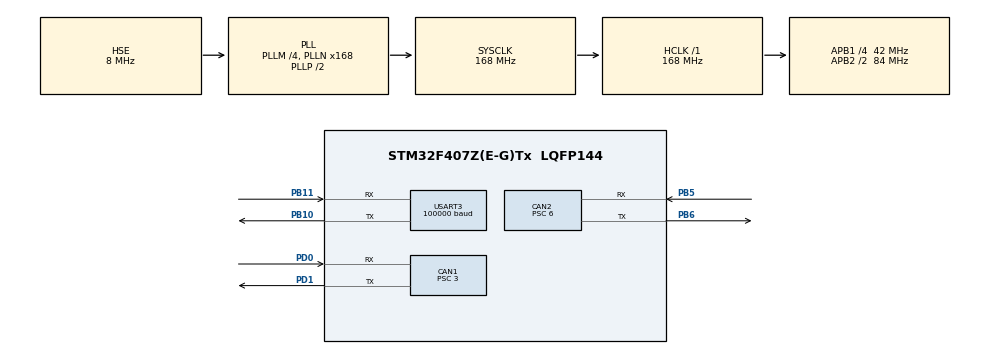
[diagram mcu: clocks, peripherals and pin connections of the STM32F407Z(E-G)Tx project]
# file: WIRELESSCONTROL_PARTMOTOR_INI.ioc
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CAN1.ABOM=ENABLE
CAN1.AWUM=ENABLE
CAN1.BS1=CAN_BS1_9TQ
CAN1.BS2=CAN_BS2_4TQ
CAN1.CalculateBaudRate=1000000
CAN1.CalculateTimeBit=1000
CAN1.CalculateTimeQuantum=71.42857142857143
CAN1.NART=ENABLE
CAN1.Prescaler=3
CAN1.TXFP=ENABLE
CAN2.ABOM=ENABLE
CAN2.AWUM=ENABLE
CAN2.BS1=CAN_BS1_4TQ
CAN2.BS2=CAN_BS2_2TQ
CAN2.CalculateBaudRate=1000000
CAN2.CalculateTimeBit=1000
CAN2.CalculateTimeQuantum=142.85714285714286
CAN2.NART=ENABLE
CAN2.Prescaler=6
CAN2.TXFP=ENABLE
FREERTOS.Tasks01=defaultTask,24,128,StartDefaultTask,Default,NULL,Dynamic,NULL,NULL;myTask02,8,128,StartTask02,Default,NULL,Dynamic,NULL,NULL;MatlabFuction,40,256,StartTask03,Default,NULL,Static,MatlabFuctionBuffer,MatlabFuctionControlBlock;myTask04,48,128,StartTask04,Default,NULL,Dynamic,NULL,NULL
Mcu.Family=STM32F4
Mcu.Name=STM32F407Z(E-G)Tx
Mcu.Package=LQFP144
NVIC.CAN1_RX0_IRQn=true\:5\:0\:false\:false\:true\:true\:true\:true\:true
NVIC.CAN1_TX_IRQn=true\:5\:0\:false\:false\:true\:true\:true\:true\:true
NVIC.CAN2_RX0_IRQn=true\:5\:0\:false\:false\:true\:true\:true\:true\:true
NVIC.CAN2_TX_IRQn=true\:5\:0\:false\:false\:true\:true\:true\:true\:true
NVIC.PriorityGroup=NVIC_PRIORITYGROUP_4
NVIC.TIM7_IRQn=true\:15\:0\:false\:false\:true\:false\:false\:true\:true
NVIC.TimeBase=TIM7_IRQn
NVIC.TimeBaseIP=TIM7
NVIC.USART3_IRQn=true\:5\:0\:false\:false\:true\:true\:true\:true\:true
PA13.Mode=Serial_Wire
PA13.Signal=SYS_JTMS-SWDIO
PA14.Mode=Serial_Wire
PA14.Signal=SYS_JTCK-SWCLK
PB10.Mode=Asynchronous
PB10.Signal=USART3_TX
PB11.Mode=Asynchronous
PB11.Signal=USART3_RX
PB5.Mode=CAN_Activate
PB5.Signal=CAN2_RX
PB6.Mode=CAN_Activate
PB6.Signal=CAN2_TX
PD0.GPIO_Speed=GPIO_SPEED_FREQ_HIGH
PD0.Mode=CAN_Activate
PD0.Signal=CAN1_RX
PD1.GPIO_Speed=GPIO_SPEED_FREQ_HIGH
PD1.Mode=CAN_Activate
PD1.Signal=CAN1_TX
PH0-OSC_IN.Mode=HSE-External-Oscillator
PH0-OSC_IN.Signal=RCC_OSC_IN
PH1-OSC_OUT.Mode=HSE-External-Oscillator
PH1-OSC_OUT.Signal=RCC_OSC_OUT
ProjectManager.HeapSize=0x200
ProjectManager.StackSize=0x400
ProjectManager.TargetToolchain=MDK-ARM V5.32
RCC.48MHZClocksFreq_Value=84000000
RCC.AHBFreq_Value=168000000
RCC.APB1CLKDivider=RCC_HCLK_DIV4
RCC.APB1Freq_Value=42000000
RCC.APB1TimFreq_Value=84000000
RCC.APB2CLKDivider=RCC_HCLK_DIV2
RCC.APB2Freq_Value=84000000
RCC.APB2TimFreq_Value=168000000
RCC.CortexFreq_Value=168000000
RCC.HCLKFreq_Value=168000000
RCC.HSE_VALUE=8000000
RCC.HSI_VALUE=16000000
RCC.LSE_VALUE=32768
RCC.PLLM=4
RCC.PLLN=168
RCC.PLLSourceVirtual=RCC_PLLSOURCE_HSE
RCC.SYSCLKFreq_VALUE=168000000
RCC.SYSCLKSource=RCC_SYSCLKSOURCE_PLLCLK
RCC.VCOOutputFreq_Value=336000000
USART3.BaudRate=100000
USART3.Mode=MODE_RX
USART3.Parity=PARITY_EVEN
USART3.StopBits=STOPBITS_2
USART3.VirtualMode=VM_ASYNC
VP_FREERTOS_VS_CMSIS_V2.Mode=CMSIS_V2
VP_SYS_VS_tim7.Mode=TIM7
board=custom

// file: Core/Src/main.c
/* USER CODE BEGIN Header */
/**
  ******************************************************************************
  * @file           : main.c
  * @brief          : Main program body
  ******************************************************************************
  * @attention
  *
  * Copyright (c) 2024 STMicroelectronics.
  * All rights reserved.
  *
  * This software is licensed under terms that can be found in the LICENSE file
  * in the root directory of this software component.
  * If no LICENSE file comes with this software, it is provided AS-IS.
  *
  ******************************************************************************
  */
/* USER CODE END Header */
#include "main.h"
#include "cmsis_os.h"
#include "can.h"
#include "usart.h"
#include "gpio.h"

/* USER CODE BEGIN Includes */
#include "sbus.h"
#define USART_REC_LEN  			100  	//
#define RXBUFFERSIZE   			1 		//
uint8_t USART3_RX_BUF[USART_REC_LEN];
uint16_t USART3_RX_STA = 0;
uint8_t aRxBuffer3[RXBUFFERSIZE];
extern SBUS_CH_Struct SBUS_CH;

#include "HT03.h"

extern MotorData motor_data[8];
extern uint8_t motor_state;

#include "IMPULSE.h"
extern PULSE PULSE_data[4];

float CH3,CH1,CH2;

#include "CONTROLLER0.h"

int stauts = 0;

int j = 0;

/* USER CODE END Includes */

void SystemClock_Config(void);
void MX_FREERTOS_Init(void);

int main(void)
{

  /* MCU Configuration--------------------------------------------------------*/

  /* Reset of all peripherals, Initializes the Flash interface and the Systick. */
  HAL_Init();

  /* Configure the system clock */
  SystemClock_Config();

  /* Initialize all configured peripherals */
  MX_GPIO_Init();
  MX_CAN1_Init();
  MX_USART3_UART_Init();
  MX_CAN2_Init();
  /* USER CODE BEGIN 2 */

	HAL_UART_Receive_IT(&huart3,aRxBuffer3,1);
  can_filter_init();

	PULSE_INIT(8,4,2,1,2,2,0,0,0,0,2,2);
	//void PULSE_INIT(int X_N,int Y_N,int X_MAX, int Y_MAX,float sx_RF, float sy_RF,float sx_RB,
	//float sy_RB,float sx_LF, float sy_LF,float sx_LB, float sy_LB);
	//HAL_TIM_Base_Start_IT(&htim14);

  CanMOTOR_Init();
	CONTROLLER0_initialize();
	rtU.R_LENGTH = 0;
	rtU.L_LENGTH = 0;

	// 200 - 1800 x     800 - 1100   CH2
	//  56 - 1656 y mid 700- 900 CH1

//	HAL_TIM_Base_Start_IT(&htim6);

  /* USER CODE END 2 */

  /* Init scheduler */
  osKernelInitialize();  /* Call init function for freertos objects (in freertos.c) */
  MX_FREERTOS_Init();

  /* Start scheduler */
  osKernelStart();
  /* We should never get here as control is now taken by the scheduler */
  /* Infinite loop */
  while (1)
  {

  }
}

void SystemClock_Config(void)
{
  RCC_OscInitTypeDef RCC_OscInitStruct = {0};
  RCC_ClkInitTypeDef RCC_ClkInitStruct = {0};

  /** Configure the main internal regulator output voltage
  */
  __HAL_RCC_PWR_CLK_ENABLE();
  __HAL_PWR_VOLTAGESCALING_CONFIG(PWR_REGULATOR_VOLTAGE_SCALE1);

  /** Initializes the RCC Oscillators according to the specified parameters
  * in the RCC_OscInitTypeDef structure.
  */
  RCC_OscInitStruct.OscillatorType = RCC_OSCILLATORTYPE_HSE;
  RCC_OscInitStruct.HSEState = RCC_HSE_ON;
  RCC_OscInitStruct.PLL.PLLState = RCC_PLL_ON;
  RCC_OscInitStruct.PLL.PLLSource = RCC_PLLSOURCE_HSE;
  RCC_OscInitStruct.PLL.PLLM = 4;
  RCC_OscInitStruct.PLL.PLLN = 168;
  RCC_OscInitStruct.PLL.PLLP = RCC_PLLP_DIV2;
  RCC_OscInitStruct.PLL.PLLQ = 4;
  if (HAL_RCC_OscConfig(&RCC_OscInitStruct) != HAL_OK)
  {
    Error_Handler();
  }

  /** Initializes the CPU, AHB and APB buses clocks
  */
  RCC_ClkInitStruct.ClockType = RCC_CLOCKTYPE_HCLK|RCC_CLOCKTYPE_SYSCLK
                              |RCC_CLOCKTYPE_PCLK1|RCC_CLOCKTYPE_PCLK2;
  RCC_ClkInitStruct.SYSCLKSource = RCC_SYSCLKSOURCE_PLLCLK;
  RCC_ClkInitStruct.AHBCLKDivider = RCC_SYSCLK_DIV1;
  RCC_ClkInitStruct.APB1CLKDivider = RCC_HCLK_DIV4;
  RCC_ClkInitStruct.APB2CLKDivider = RCC_HCLK_DIV2;

  if (HAL_RCC_ClockConfig(&RCC_ClkInitStruct, FLASH_LATENCY_5) != HAL_OK)
  {
    Error_Handler();
  }
}

/* USER CODE BEGIN 4 */
void HAL_UART_RxCpltCallback(UART_HandleTypeDef *huart)
{
	int i;

	while (huart->Instance == USART3) //uart3 ?
	{
		USART3_RX_BUF[USART3_RX_STA] = aRxBuffer3[0];
		if (USART3_RX_STA == 0 && USART3_RX_BUF[USART3_RX_STA] != 0x0F) break; //
		USART3_RX_STA++;
		if (USART3_RX_STA > USART_REC_LEN) USART3_RX_STA = 0;  //
		if (USART3_RX_BUF[0] == 0x0F && USART3_RX_BUF[24] == 0x00 && USART3_RX_STA == 25)	//
		{
			update_sbus(USART3_RX_BUF);

			for (i = 0; i<25; i++)		//

				USART3_RX_BUF[i] = 0;
			USART3_RX_STA = 0;
		}

		break;
	}
}
/* USER CODE END 4 */

void HAL_TIM_PeriodElapsedCallback(TIM_HandleTypeDef *htim)
{
  if (htim->Instance == TIM7) {
    HAL_IncTick();
  }
}

void Error_Handler(void)
{
  __disable_irq();
  while (1)
  {
  }
}

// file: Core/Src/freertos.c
/* USER CODE BEGIN Header */
/**
  ******************************************************************************
  * File Name          : freertos.c
  * Description        : Code for freertos applications
  ******************************************************************************
  * @attention
  *
  * Copyright (c) 2024 STMicroelectronics.
  * All rights reserved.
  *
  * This software is licensed under terms that can be found in the LICENSE file
  * in the root directory of this software component.
  * If no LICENSE file comes with this software, it is provided AS-IS.
  *
  ******************************************************************************
  */
/* USER CODE END Header */

#include "FreeRTOS.h"
#include "task.h"
#include "main.h"
#include "cmsis_os.h"

/* USER CODE BEGIN Includes */
#include "CONTROLLER0.h"
#include "can.h"
#include "sbus.h"

extern SBUS_CH_Struct SBUS_CH;

#include "HT03.h"

extern MotorData motor_data[8];
extern uint8_t motor_state;

#include "IMPULSE.h"

extern PULSE PULSE_data[4];

extern int stauts ;

extern float CH3,CH2,CH1;

int update = 10;
/* USER CODE END Includes */

typedef StaticTask_t osStaticThreadDef_t;

/* Definitions for defaultTask */
osThreadId_t defaultTaskHandle;
const osThreadAttr_t defaultTask_attributes = {
  .name = "defaultTask",
  .stack_size = 128 * 4,
  .priority = (osPriority_t) osPriorityNormal,
};
/* Definitions for myTask02 */
osThreadId_t myTask02Handle;
const osThreadAttr_t myTask02_attributes = {
  .name = "myTask02",
  .stack_size = 128 * 4,
  .priority = (osPriority_t) osPriorityLow,
};
/* Definitions for MatlabFuction */
osThreadId_t MatlabFuctionHandle;
uint32_t MatlabFuctionBuffer[ 256 ];
osStaticThreadDef_t MatlabFuctionControlBlock;
const osThreadAttr_t MatlabFuction_attributes = {
  .name = "MatlabFuction",
  .cb_mem = &MatlabFuctionControlBlock,
  .cb_size = sizeof(MatlabFuctionControlBlock),
  .stack_mem = &MatlabFuctionBuffer[0],
  .stack_size = sizeof(MatlabFuctionBuffer),
  .priority = (osPriority_t) osPriorityHigh,
};
/* Definitions for myTask04 */
osThreadId_t myTask04Handle;
const osThreadAttr_t myTask04_attributes = {
  .name = "myTask04",
  .stack_size = 128 * 4,
  .priority = (osPriority_t) osPriorityRealtime,
};

void StartDefaultTask(void *argument);
void StartTask02(void *argument);
void StartTask03(void *argument);
void StartTask04(void *argument);

void MX_FREERTOS_Init(void); /* (MISRA C 2004 rule 8.1) */

void MX_FREERTOS_Init(void) {

  /* Create the thread(s) */
  /* creation of defaultTask */
  defaultTaskHandle = osThreadNew(StartDefaultTask, NULL, &defaultTask_attributes);

  /* creation of myTask02 */
  myTask02Handle = osThreadNew(StartTask02, NULL, &myTask02_attributes);

  /* creation of MatlabFuction */
  MatlabFuctionHandle = osThreadNew(StartTask03, NULL, &MatlabFuction_attributes);

  /* creation of myTask04 */
  myTask04Handle = osThreadNew(StartTask04, NULL, &myTask04_attributes);

}

void StartDefaultTask(void *argument)
{
  /* USER CODE BEGIN StartDefaultTask */
  /* Infinite loop */
  for(;;)
  {
    osDelay(10);
  }
  /* USER CODE END StartDefaultTask */
}

void StartTask02(void *argument)
{
  /* USER CODE BEGIN StartTask02 */
  /* Infinite loop */
  for(;;)
  {

	 if(stauts ==1){
		// CanComm_ControlCmd(CMD_MOTOR_MODE,0x07,hcan1);
			CanComm_SendControlPara(rtY.RF_theta_in,0,7.5,0.2,0,0x07,hcan2);
			osDelay(1);
	//	 CanComm_ControlCmd(CMD_MOTOR_MODE,0x05,hcan1);
			CanComm_SendControlPara(rtY.RF_theta_out,0,7.5,0.2,0,0x05,hcan2);
			osDelay(1);
		// CanComm_ControlCmd(CMD_MOTOR_MODE,0x06,hcan1);
			CanComm_SendControlPara(rtY.RB_theta_in,0,7.5,0.2,0,0x06,hcan2);
			osDelay(1);
	//	 CanComm_ControlCmd(CMD_MOTOR_MODE,0x04,hcan1);
			CanComm_SendControlPara(rtY.RB_theta_out,0,7.5,0.2,0,0x04,hcan1);
			osDelay(1);
	//	 CanComm_ControlCmd(CMD_MOTOR_MODE,0x01,hcan1);
			CanComm_SendControlPara(rtY.LB_theta_in,0,7.5,0.2,0,0x01,hcan1);
			 osDelay(1);
	//	 CanComm_ControlCmd(CMD_MOTOR_MODE,0x02,hcan1);
			CanComm_SendControlPara(rtY.LB_theta_out,0,7.5,0.2,0,0x02,hcan1);
			 osDelay(1);
	//	 CanComm_ControlCmd(CMD_MOTOR_MODE,0x08,hcan1);
			CanComm_SendControlPara(rtY.LF_theta_in,0,7.5,0.2,0,0x08,hcan2);
			osDelay(1);
	//		CanComm_ControlCmd(CMD_MOTOR_MODE,0x03,hcan1);
			 CanComm_SendControlPara(rtY.LF_theta_out,0,7.5,0.2,0,0x03,hcan1);
			osDelay(1);
	 }
	 if( update == 10){
		update = 0;
		CanMotorUpdate_NULL();
	 }else{
		update ++ ;
	 }

    osDelay(10);
  }
  /* USER CODE END StartTask02 */
}

void StartTask03(void *argument)
{
  /* USER CODE BEGIN StartTask03 */
  /* Infinite loop */
  for(;;)
  {
		CONTROLLER0_step();
    rtU.RF_X = PULSE_data[RF].TIME_X_value;
    rtU.RF_Y = PULSE_data[RF].TIME_Y_value;

    rtU.RB_X = PULSE_data[RB].TIME_X_value;
    rtU.RB_Y = PULSE_data[RB].TIME_Y_value;

    rtU.LF_X = PULSE_data[LF].TIME_X_value;
    rtU.LF_Y = PULSE_data[LF].TIME_Y_value;

    rtU.LB_X = PULSE_data[LB].TIME_X_value;
    rtU.LB_Y = PULSE_data[LB].TIME_Y_value;

		stauts = 1;
    osDelay(10);
  }
  /* USER CODE END StartTask03 */
}

void StartTask04(void *argument)
{
  /* USER CODE BEGIN StartTask04 */
  /* Infinite loop */
  for(;;)
  {
//     CH3 = map(-0.020,0.020,200,1300,SBUS_CH.CH3);
//		 if(CH3>0.01){
//			CH3 = 0.01;
//		 }else if(CH3 <-0.01){
//			 CH3 = -0.01;
//		 }

		if(SBUS_CH.CH3 >1100){
      CH3 = 0.01;
    }
    else if(SBUS_CH.CH3 <300){
      CH3 = -0.01;
    }
    else{
      CH3 = 0;
    }

		if(SBUS_CH.CH2 > 1100){

			rtU.L_LENGTH = 120;
			rtU.R_LENGTH = 120;

		}
    else if(SBUS_CH.CH2 < 800){

			rtU.L_LENGTH = -120;
			rtU.R_LENGTH = -120;
    }

		if(SBUS_CH.CH1 > 900){
      rtU.L_LENGTH = 120;
			rtU.R_LENGTH = -120;
    }
    else if(SBUS_CH.CH1 <700){
      rtU.L_LENGTH = -120;
			rtU.R_LENGTH = 120;
    }

		if(SBUS_CH.CH1> 700  &&  SBUS_CH.CH1 < 900 && SBUS_CH.CH2 > 800 &&SBUS_CH.CH2 <1100)
		{
			rtU.L_LENGTH = 0;
			rtU.R_LENGTH = 0;
		}

		PULSE_UPDATE(CH3);
    osDelay(1);
  }
  /* USER CODE END StartTask04 */
}
